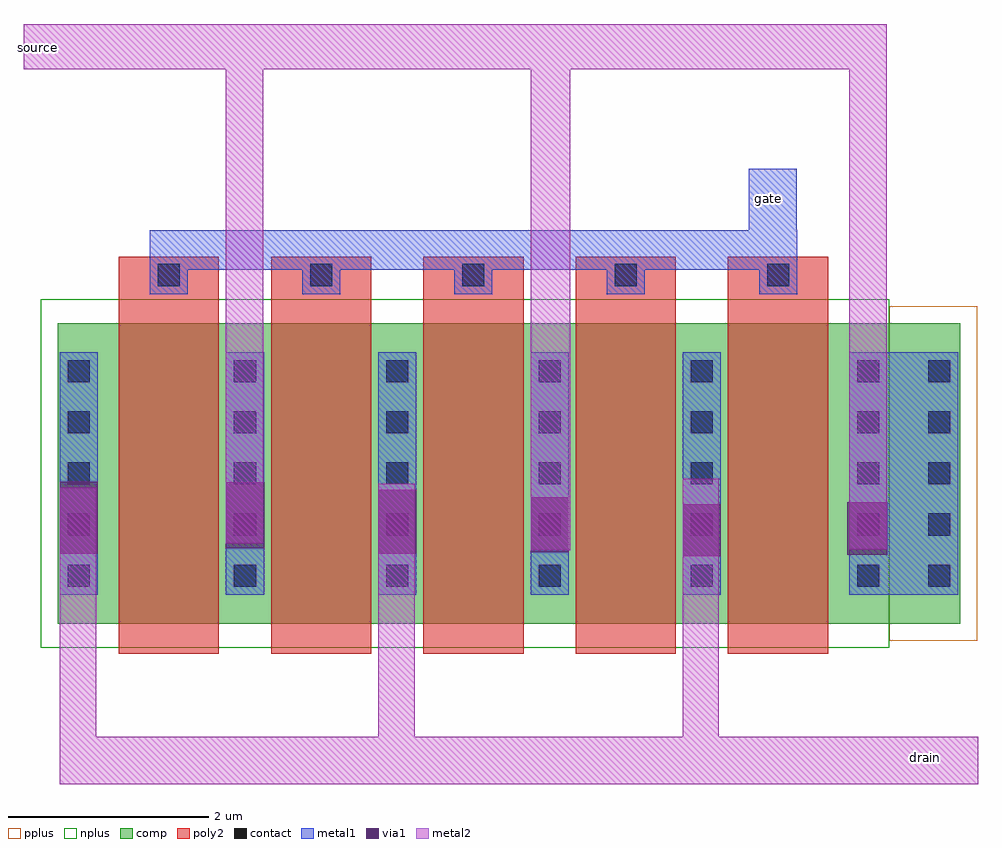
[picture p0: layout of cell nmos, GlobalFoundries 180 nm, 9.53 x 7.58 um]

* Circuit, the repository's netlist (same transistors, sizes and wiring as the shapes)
* Extracted by KLayout with GF180MCU LVS runset on : 07/09/2025 03:19

.SUBCKT nmos
M$1 \$1 \$3 \$2 gf180mcu_gnd nfet_03v3 L=1U W=3U AS=1.83P AD=0.78P PS=7.22U
+ PD=3.52U
M$2 \$2 \$3 \$1 gf180mcu_gnd nfet_03v3 L=1U W=3U AS=0.78P AD=0.78P PS=3.52U
+ PD=3.52U
M$3 \$1 \$3 \$2 gf180mcu_gnd nfet_03v3 L=1U W=3U AS=0.78P AD=0.78P PS=3.52U
+ PD=3.52U
M$4 \$2 \$3 \$1 gf180mcu_gnd nfet_03v3 L=1U W=3U AS=0.78P AD=0.78P PS=3.52U
+ PD=3.52U
M$5 \$1 \$3 \$2 gf180mcu_gnd nfet_03v3 L=1U W=3U AS=0.78P AD=1.83P PS=3.52U
+ PD=7.22U
.ENDS nmos

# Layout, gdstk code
import gdstk
lib = gdstk.Library(unit=1e-6, precision=1e-09)
def R(c, l, rs):  # rectangles x0, y0, x1, y1
    for r in rs: c.add(gdstk.rectangle(r[:2], r[2:], *l))
def A(c, l, x, y, w, h, nx, ny, dx, dy):  # array of equal rectangles
    R(c, l, [(x+i*dx, y+j*dy, x+i*dx+w, y+j*dy+h) for i in range(nx) for j in range(ny)])
comp = (22, 0)
poly2 = (30, 0)
pplus = (31, 0)
nplus = (32, 0)
contact = (33, 0)
metal1 = (34, 0)
via1 = (35, 0)
metal2 = (36, 0)

nfet = lib.new_cell('nfet')
R(nfet, comp, [(-0.42,0,0,3), (0,0,7.46,3), (7.46,0,7.88,3), (7.88,0,8.59,3)])
A(nfet, poly2, 0.19, -0.3, 1, 3.6, 5, 1, 1.52, 0)
A(nfet, poly2, 0.19, 3.3, 1, 0.36, 5, 1, 1.52, 0)
R(nfet, pplus, [(7.88,-0.17,8.76,3.17)])
R(nfet, nplus, [(-0.59,-0.24,7.88,3.24)])
A(nfet, contact, -0.32, 0.37, 0.22, 0.22, 1, 5, 0, 0.51)
A(nfet, contact, 1.34, 0.37, 0.22, 0.22, 4, 5, 1.52, 0.51)
A(nfet, contact, 7.56, 0.37, 0.22, 0.22, 1, 5, 0, 0.51)
A(nfet, contact, 8.27, 0.37, 0.22, 0.22, 1, 5, 0, 0.51)
A(nfet, contact, 0.58, 3.37, 0.22, 0.22, 5, 1, 1.52, 0)
A(nfet, metal1, 1.26, 0.29, 0.38, 2.42, 4, 1, 1.52, 0)
A(nfet, metal1, 0.5, 3.289, 0.38, 0.382, 5, 1, 1.52, 0)
R(nfet, metal1, [(-0.4,0.29,-0.02,2.71), (7.48,0.29,7.86,2.71), (8.19,0.29,8.57,2.71)])

nmos = lib.new_cell('nmos')
R(nmos, metal1, [(7.405,0.32,8.015,2.74), (0.18,3.56,6.64,3.955), (6.16,3.895,6.635,4.57)])
R(nmos, via1, [(5.5,0.705,5.88,1.22), (7.14,0.72,7.54,1.24), (-0.72,0.73,-0.34,1.445), (2.46,0.73,2.84,1.365), (3.98,0.745,4.36,1.29), (0.94,0.785,1.32,1.44)])
R(nmos, metal2, [(-0.72,-1.57,8.45,-1.1), (2.46,-1.57,2.825,1.425), (-0.72,-1.565,-0.355,1.385), (5.5,-1.56,5.86,1.475), (3.98,0.765,4.375,6.005), (7.16,0.775,7.535,6.015), (0.94,0.835,1.31,5.995), (-1.08,5.565,7.535,6.015)])
nmos.add(gdstk.Reference(nfet, (-0.32,0.03)))
nmos.add(gdstk.Label('gate', (6.35,4.27), layer=34, texttype=0))
nmos.add(gdstk.Label('source', (-0.94,5.78), layer=34, texttype=0))
nmos.add(gdstk.Label('drain', (7.92,-1.305), layer=34, texttype=0))

lib.write_gds('nmos.gds')
